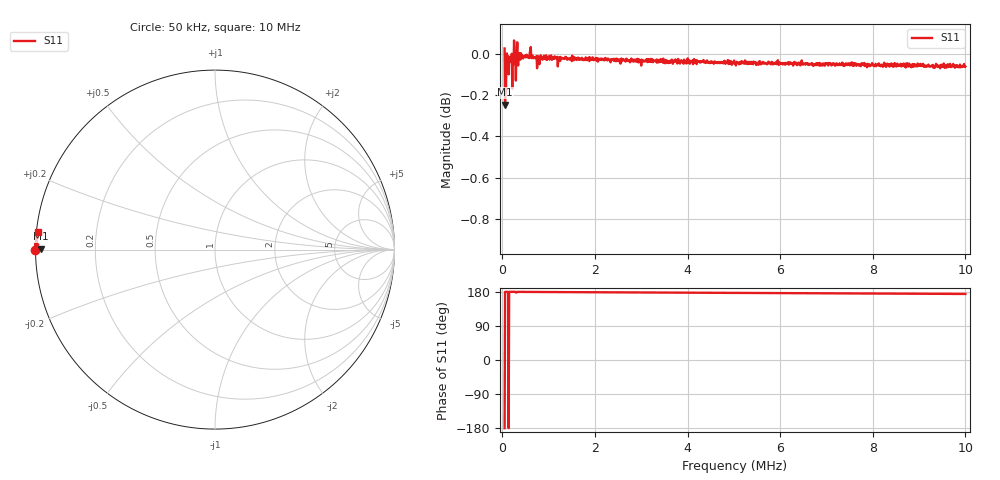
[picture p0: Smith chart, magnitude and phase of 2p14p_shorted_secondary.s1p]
# HZ S RI R 50
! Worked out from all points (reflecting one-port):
!   1023 points, 50 kHz to 10 MHz, reference 50 ohm
!   lowest |S11| = -0.2 dB at 59.74 kHz (marker M1), VSWR 70.80, Z = 0.706 + j0.116 ohm
!   phase of S11 starts at -180 deg and turns -6 deg over the sweep
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50000  -1.003 -0.00187
59736  -0.9721 0.0045
88944  -0.9981 0.00311
108416  -0.9933 0.000234
118152  -0.9931 0.000959
137624  -0.9887 -0.00148
166832  -0.9978 0.00127
234984  -0.9977 0.0022
254456  -1.008 0.000877
264192  -1.001 0.00326
273928  -0.9988 0.00205
332344  -0.9988 0.00506
342080  -0.9936 0.00455
351816  -0.9984 0.00486
361552  -0.9994 0.00415
381024  -0.9986 0.00469
536800  -0.9993 0.00681
566008  -0.9985 0.00628
750992  -0.9921 0.00399
877560  -0.9981 0.0101
1296208  -0.9977 0.0142
2542416  -0.9958 0.0269
3788624  -0.996 0.0382
5025096  -0.9933 0.0499
6271304  -0.9929 0.0633
7517512  -0.9919 0.0756
8763720  -0.9894 0.0852
1.000019e7  -0.9881 0.0989
